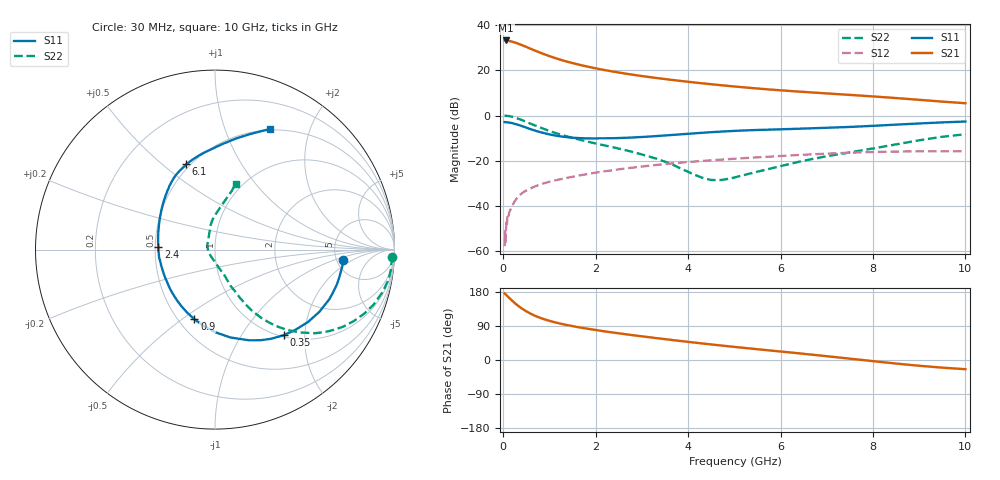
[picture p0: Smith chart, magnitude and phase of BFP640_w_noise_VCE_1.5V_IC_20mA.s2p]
! Infineon Technologies  Discrete & RF Semiconductors
! BFP640
! VCE =  1.5 V,  IC =  20 mA
! Common Emitter S-Parameters:  Apr 2013
# GHz  S  MA  R  50
!  f  S11  S21  S12  S22
! GHz  MAG  ANG  MAG  ANG  MAG  ANG  MAG  ANG
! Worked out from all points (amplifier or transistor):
!   99 points, 30 MHz to 10 GHz, reference 50 ohm
!   highest |S21| = 33.2 dB at 60 MHz (marker M1)
!   |S21| within 3 dB of that: start of sweep to 515 MHz
!   unconditionally stable (mu >= 1): 2.749 GHz to end of sweep
!   at 350 MHz: K = 0.28, MSG = 33.4 dB, |S12| = -35.3 dB
!   at 3.5 GHz: K = 1.04, MAG = 17.6 dB, |S12| = -21.5 dB
!   at 10 GHz: K = 1.07, MAG = 9.0 dB, |S12| = -15.8 dB
!   lowest NFmin = 0.85 dB at 450 MHz
!   S11 on the Smith chart (normalised r, x): 30 MHz: 5.73, -1.39; 350 MHz: 1.03, -1.57; 900 MHz: 0.60, -0.56; 2.4 GHz: 0.52, +0.02; 6.1 GHz: 0.48, +0.60; 10 GHz: 0.49, +1.44
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0.03  0.7175 -4.7  45.45 175.9  0.0013 82.7  0.9859 -2.3
0.06  0.7125 -9.4  45.62 172.2  0.0028 79.6  0.9869 -5.3
0.12  0.7007 -19.0  44.61 164.9  0.0063 85.2  0.9732 -11.5
0.2  0.6771 -30.8  42.59 155.7  0.0104 74.8  0.9357 -19.1
0.3  0.6329 -44.9  39.57 145.2  0.015 73.2  0.8694 -27.3
0.35  0.6117 -51.3  37.76 140.6  0.0171 69.2  0.8335 -31.0
0.4  0.5867 -57.9  36.18 136.1  0.019 67.0  0.7959 -34.3
0.45  0.5649 -63.4  34.37 132.2  0.0207 65.3  0.7617 -37.2
0.6  0.4973 -80.0  29.7 121.7  0.0249 61.6  0.6568 -44.6
0.7  0.4615 -89.4  26.9 116.1  0.0275 59.5  0.5978 -48.3
0.9  0.4051 -106.4  22.4 107.0  0.0323 57.2  0.497 -53.9
1  0.3834 -114.0  20.57 103.3  0.0344 56.0  0.457 -56.0
1.2  0.352 -127.4  17.61 97.0  0.0385 55.1  0.3919 -59.1
1.4  0.3319 -139.3  15.35 91.8  0.0425 53.9  0.342 -61.2
1.7  0.3157 -154.8  12.87 85.0  0.0485 52.4  0.2849 -63.2
2.4  0.3165 177.2  9.285 72.1  0.0626 48.5  0.1971 -67.8
3.4  0.3573 148.9  6.59 56.5  0.0827 41.4  0.1037 -77.9
5.1  0.4629 119.1  4.296 33.3  0.1127 27.2  0.0455 157.8
6.1  0.5014 108.7  3.552 21.2  0.1293 19.2  0.0805 115.1
6.7  0.524 101.9  3.229 13.8  0.1392 13.6  0.1104 105.3
8.5  0.6299 79.3  2.435 -9.4  0.1601 -4.4  0.2306 83.7
10  0.738 65.5  1.871 -24.3  0.163 -16.1  0.386 72.5
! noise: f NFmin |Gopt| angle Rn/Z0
0.45  0.85  0.13  6  0.02
0.9  0.85  0.13  14  0.03
1.5  0.88  0.1  26  0.04
1.9  0.9  0.14  -134  0.05
2.4  0.94  0.19  -119  0.06
3.5  1.06  0.24  -104  0.08
5.5  1.25  0.25  -96  0.15
10  1.74  0.58  -55  0.46
